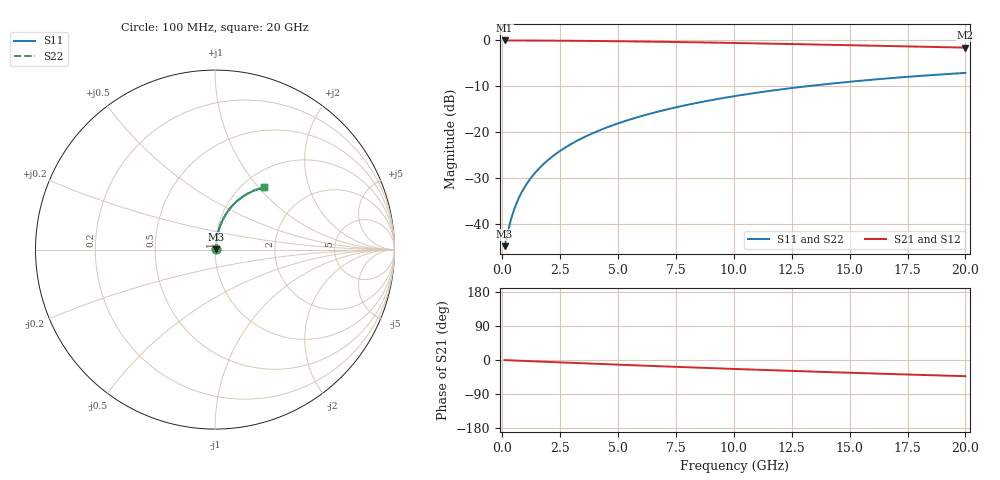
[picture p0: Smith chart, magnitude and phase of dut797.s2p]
! Touchstone file exported from HFSS 2024.1.0
!  File:  C:/UserFiles/LocalFiles/RDL_TSV_Batchsim/temp_RDL_bottom_797_1779861774.aedt
!  Generated:  02:05:31 PM May 27, 2026
!  Design:  RDL_bottom
!  Project:  temp_RDL_bottom_797_1779861774
!  Setup:  Setup1
!  Solution:  Sweep
! Variables:
!  dtsv = 10.80580581um
!  hbump = 3um
!  htsv = 93.68um
!  ldown = 563.17um
!  lrdl = 100um
!  p = 40
!  p1 = 47.62um
!  rhole = 1um
!  t = 450um
!  tdown = 2.55um
!  trdl = 3.915915916um
!  wdown = 15.8um
!  wrdl = 20um
# GHz S MA R 50.000000
! Terminal data exported
! Port[1] = RDL1_T1
! Port[2] = RDL1_T2
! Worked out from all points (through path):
!   200 points, 100 MHz to 20 GHz, reference 50 ohm
!   highest |S21| = -0.04 dB at 100 MHz (marker M1); lowest = -1.6 dB at 20 GHz (marker M2)
!   group delay of S21, straight-line fit = 5.93 ps
!   lowest |S11| = -44.8 dB at 100 MHz (marker M3), VSWR 1.01, Z = 50.5 + j0.267 ohm
!   |S11| at or under -10 dB: start of sweep to 13.17 GHz
!   |S22| runs from -44.8 to -7.1 dB; largest |S21 - S12| = 3.5e-15
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0.1  0.005754 27.4  0.9949 -0.3  0.9949 -0.3  0.005754 27.4
! Gamma 0 0 0 0
! Port Impedance 50 0 50 0
0.3  0.009512 55.8  0.9946 -0.8  0.9946 -0.8  0.009512 55.8
0.4  0.01179 62.1  0.9945 -1.0  0.9945 -1.0  0.01179 62.1
0.5  0.01414 66.2  0.9943 -1.3  0.9943 -1.3  0.01414 66.2
0.6  0.01652 69.0  0.9941 -1.5  0.9941 -1.5  0.01652 69.0
0.7  0.0189 71.1  0.9939 -1.8  0.9939 -1.8  0.0189 71.1
0.9  0.02369 74.0  0.9935 -2.3  0.9935 -2.3  0.02369 74.0
1.2  0.03091 76.6  0.9928 -3.0  0.9928 -3.0  0.03091 76.6
1.4  0.03575 77.7  0.9924 -3.5  0.9924 -3.5  0.03575 77.7
1.7  0.04304 78.8  0.9916 -4.3  0.9916 -4.3  0.04304 78.8
2.2  0.05527 79.7  0.9901 -5.5  0.9901 -5.5  0.05527 79.7
2.8  0.07005 80.0  0.9879 -7.0  0.9879 -7.0  0.07005 80.0
3.5  0.08737 79.8  0.9847 -8.7  0.9847 -8.7  0.08738 79.8
4.2  0.1048 79.2  0.981 -10.4  0.981 -10.4  0.1048 79.2
5  0.1246 78.3  0.9761 -12.3  0.9761 -12.3  0.1247 78.3
5.9  0.147 77.0  0.9699 -14.4  0.9699 -14.4  0.147 77.0
6.8  0.1692 75.6  0.9631 -16.5  0.9631 -16.5  0.1693 75.6
8.4  0.2082 72.8  0.9495 -20.1  0.9495 -20.1  0.2082 72.8
10.1  0.2483 69.6  0.9337 -23.8  0.9337 -23.8  0.2484 69.7
13.4  0.3211 63.4  0.9004 -30.6  0.9004 -30.6  0.3213 63.4
16.7  0.3857 57.3  0.8657 -36.9  0.8657 -36.9  0.3859 57.4
20  0.4416 51.6  0.8311 -42.7  0.8311 -42.7  0.4419 51.7
